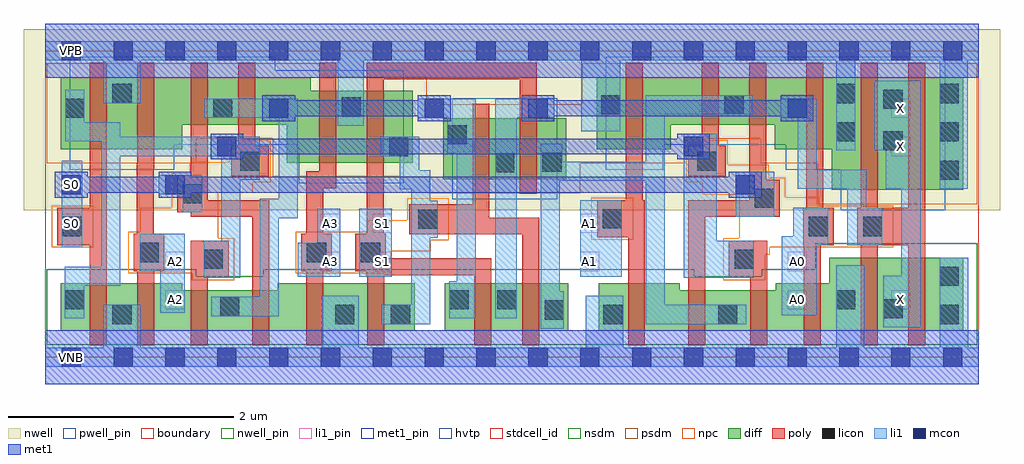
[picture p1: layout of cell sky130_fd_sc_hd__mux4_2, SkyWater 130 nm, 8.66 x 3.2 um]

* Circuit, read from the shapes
.subckt sky130_fd_sc_hd__mux4_2 A0 A1 A2 A3 S0 S1 VGND VNB VPB VPWR X
XM1 VGND S0 n1 VNB sky130_fd_pr__nfet_01v8 w=0.42 l=0.15
XM2 n2 A2 VGND VNB sky130_fd_pr__nfet_01v8 w=0.42 l=0.15
XM3 n3 n1 n2 VNB sky130_fd_pr__nfet_01v8 w=0.36 l=0.15
XM4 n4 S0 n3 VNB sky130_fd_pr__nfet_01v8 w=0.36 l=0.15
XM5 VGND A3 n4 VNB sky130_fd_pr__nfet_01v8 w=0.42 l=0.15
XM6 n5 S1 VGND VNB sky130_fd_pr__nfet_01v8 w=0.42 l=0.15
XM7 n6 S1 n3 VNB sky130_fd_pr__nfet_01v8 w=0.42 l=0.15
XM8 n7 n5 n6 VNB sky130_fd_pr__nfet_01v8 w=0.42 l=0.15
XM9 n8 A1 VGND VNB sky130_fd_pr__nfet_01v8 w=0.42 l=0.15
XM10 n7 S0 n8 VNB sky130_fd_pr__nfet_01v8 w=0.36 l=0.15
XM11 n9 n1 n7 VNB sky130_fd_pr__nfet_01v8 w=0.36 l=0.15
XM12 VGND A0 n9 VNB sky130_fd_pr__nfet_01v8 w=0.42 l=0.15
XM13 X n6 VGND VNB sky130_fd_pr__nfet_01v8 w=0.65 l=0.15 m=2
XM14 VPWR S0 n1 VPB sky130_fd_pr__pfet_01v8_hvt w=0.64 l=0.15
XM15 n10 A2 VPWR VPB sky130_fd_pr__pfet_01v8_hvt w=0.64 l=0.15
XM16 n3 S0 n10 VPB sky130_fd_pr__pfet_01v8_hvt w=0.42 l=0.15
XM17 n11 n1 n3 VPB sky130_fd_pr__pfet_01v8_hvt w=0.42 l=0.15
XM18 VPWR A3 n11 VPB sky130_fd_pr__pfet_01v8_hvt w=0.64 l=0.15
XM19 n5 S1 VPWR VPB sky130_fd_pr__pfet_01v8_hvt w=0.64 l=0.15
XM20 n6 n5 n3 VPB sky130_fd_pr__pfet_01v8_hvt w=0.54 l=0.15
XM21 n7 S1 n6 VPB sky130_fd_pr__pfet_01v8_hvt w=0.54 l=0.15
XM22 n12 A1 VPWR VPB sky130_fd_pr__pfet_01v8_hvt w=0.64 l=0.15
XM23 n7 n1 n12 VPB sky130_fd_pr__pfet_01v8_hvt w=0.42 l=0.15
XM24 n13 S0 n7 VPB sky130_fd_pr__pfet_01v8_hvt w=0.42 l=0.15
XM25 VPWR A0 n13 VPB sky130_fd_pr__pfet_01v8_hvt w=0.64 l=0.15
XM26 X n6 VPWR VPB sky130_fd_pr__pfet_01v8_hvt w=1 l=0.15 m=2
.ends

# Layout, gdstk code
import gdstk
lib = gdstk.Library(unit=1e-6, precision=1e-09)
def R(c, l, rs):  # rectangles x0, y0, x1, y1
    for r in rs: c.add(gdstk.rectangle(r[:2], r[2:], *l))
def A(c, l, x, y, w, h, nx, ny, dx, dy):  # array of equal rectangles
    R(c, l, [(x+i*dx, y+j*dy, x+i*dx+w, y+j*dy+h) for i in range(nx) for j in range(ny)])
nwell_pin = (64, 16)
nwell = (64, 20)
diff = (65, 20)
poly = (66, 20)
licon = (66, 44)
li1_pin = (67, 16)
li1 = (67, 20)
mcon = (67, 44)
met1_pin = (68, 16)
met1 = (68, 20)
hvtp = (78, 44)
stdcell_id = (81, 4)
nsdm = (93, 44)
psdm = (94, 20)
npc = (95, 20)
pwell_pin = (122, 16)
boundary = (235, 4)

sky130_fd_sc_hd__mux4_2 = lib.new_cell('sky130_fd_sc_hd__mux4_2')
R(sky130_fd_sc_hd__mux4_2, nwell_pin, [(0.145,2.635,0.315,2.805)])
R(sky130_fd_sc_hd__mux4_2, nwell, [(-0.19,1.305,8.47,2.91)])
R(sky130_fd_sc_hd__mux4_2, diff, [(0.135,0.235,3.275,0.595), (3.545,0.235,4.64,0.655), (4.91,0.235,8.145,0.595), (0.135,0.595,1.215,0.655), (2.06,0.595,3.275,0.655), (4.91,0.595,5.63,0.655), (6.48,0.595,8.145,0.655), (6.955,0.655,8.145,0.885), (6.975,1.485,8.145,1.845), (3.53,1.58,4.62,2.12), (2.14,1.725,3.26,2.065), (0.135,1.845,1.215,2.065), (4.89,1.845,5.55,2.065), (6.47,1.845,8.145,2.065), (0.135,2.065,3.26,2.365), (4.89,2.065,8.145,2.485), (0.135,2.365,2.355,2.485)])
R(sky130_fd_sc_hd__mux4_2, poly, [(0.395,0.105,0.545,0.995), (0.815,0.105,0.965,0.765), (1.29,0.105,1.44,0.705), (1.835,0.105,1.985,1.245), (2.315,0.105,2.465,0.765), (2.855,0.105,3.005,0.73), (3.805,0.105,3.955,0.73), (4.23,0.105,4.38,1.09), (5.17,0.105,5.32,1.065), (5.705,0.105,5.855,1.245), (6.255,0.105,6.405,0.705), (6.73,0.105,6.88,0.995), (7.235,0.105,7.385,0.995), (7.655,0.105,7.805,0.995), (1.29,0.705,1.625,1.035), (6.065,0.705,6.405,1.035), (2.845,0.73,3.955,0.765), (0.785,0.765,1.055,1.095), (2.27,0.765,2.54,1.095), (2.75,0.765,3.955,0.88), (2.75,0.88,3.02,1.095), (0.105,0.995,0.545,1.325), (6.725,0.995,6.995,1.325), (7.205,0.995,7.805,1.325), (4.895,1.065,5.32,1.395), (3.23,1.09,4.38,1.24), (0.81,1.095,0.96,1.675), (2.315,1.095,2.465,1.5), (2.85,1.095,3,2.465), (3.23,1.24,3.94,1.36), (1.29,1.245,1.985,1.285), (5.705,1.245,6.515,1.395), (1.17,1.285,1.985,1.395), (0.395,1.325,0.545,2.615), (6.75,1.325,6.9,2.615), (7.235,1.325,7.385,2.615), (7.655,1.325,7.805,2.615), (3.79,1.36,3.94,2.25), (1.17,1.395,1.44,1.615), (5.15,1.395,5.3,2.615), (6.245,1.395,6.515,1.575), (4.21,1.45,4.36,2.465), (2.315,1.5,2.58,1.65), (6.245,1.575,6.395,2.615), (1.65,1.605,1.98,1.875), (5.705,1.605,6.035,1.875), (1.29,1.615,1.44,2.615), (2.43,1.65,2.58,2.615), (0.81,1.675,0.965,1.715), (0.815,1.715,0.965,2.615), (1.71,1.875,1.86,2.615), (5.825,1.875,5.975,2.615), (2.85,2.465,4.36,2.615)])
A(sky130_fd_sc_hd__mux4_2, licon, 7.935, 1.575, 0.17, 0.17, 1, 3, 0, 0.34)
R(sky130_fd_sc_hd__mux4_2, licon, [(0.595,0.295,0.765,0.465), (2.57,0.295,2.74,0.465), (3.065,0.295,3.235,0.465), (4.95,0.295,5.12,0.465), (5.97,0.295,6.14,0.465), (7.935,0.295,8.105,0.465), (4.43,0.335,4.6,0.505), (7.435,0.345,7.605,0.515), (1.55,0.365,1.72,0.535), (0.175,0.425,0.345,0.595), (3.585,0.425,3.755,0.595), (4.01,0.425,4.18,0.595), (7.015,0.425,7.185,0.595), (7.935,0.635,8.105,0.805), (1.405,0.785,1.575,0.955), (6.115,0.785,6.285,0.955), (0.835,0.845,1.005,1.015), (2.32,0.845,2.49,1.015), (2.8,0.845,2.97,1.015), (0.155,1.075,0.325,1.245), (6.775,1.075,6.945,1.245), (7.255,1.075,7.425,1.245), (3.31,1.14,3.48,1.31), (4.945,1.145,5.115,1.315), (6.295,1.325,6.465,1.495), (1.22,1.365,1.39,1.535), (3.99,1.64,4.16,1.81), (4.41,1.645,4.58,1.815), (1.73,1.655,1.9,1.825), (5.785,1.655,5.955,1.825), (3.05,1.785,3.22,1.955), (7.435,1.835,7.605,2.005), (3.57,1.89,3.74,2.06), (7.015,1.915,7.185,2.085), (0.175,2.125,0.345,2.295), (1.49,2.125,1.66,2.295), (2.63,2.135,2.8,2.305), (4.93,2.155,5.1,2.325), (6.025,2.155,6.195,2.325), (7.435,2.205,7.605,2.375), (0.595,2.255,0.765,2.425), (7.015,2.255,7.185,2.425)])
A(sky130_fd_sc_hd__mux4_2, li1_pin, 2.905, 0.765, 0.17, 0.17, 3, 1, 1.84, 0)
R(sky130_fd_sc_hd__mux4_2, li1_pin, [(1.065,0.425,1.235,0.595), (6.585,0.425,6.755,0.595), (7.505,0.425,7.675,0.595), (1.065,0.765,1.235,0.935), (2.445,0.765,2.615,0.935), (0.145,1.105,0.315,1.275), (2.445,1.105,2.615,1.275), (2.905,1.105,3.075,1.275), (4.745,1.105,4.915,1.275), (0.145,1.445,0.315,1.615), (7.505,1.785,7.675,1.955), (7.505,2.125,7.675,2.295)])
R(sky130_fd_sc_hd__mux4_2, li1, [(0,-0.085,8.28,0.085), (0.515,0.085,0.845,0.465), (2.45,0.085,2.78,0.545), (4.795,0.085,5.125,0.545), (7.015,0.085,7.265,0.815), (7.935,0.085,8.19,0.885), (4.395,0.255,4.6,0.585), (7.435,0.265,7.765,0.725), (2.985,0.295,3.415,0.465), (5.325,0.295,6.22,0.465), (0.17,0.345,0.345,0.635), (3.585,0.345,3.82,0.675), (3.99,0.345,4.18,2.125), (1.47,0.365,2.07,0.535), (6.535,0.375,6.845,0.995), (1.02,0.395,1.235,0.765), (3.245,0.465,3.415,1.06), (5.325,0.465,5.495,1.565), (1.9,0.535,2.07,1.235), (4.395,0.585,4.565,1.565), (0.17,0.635,0.665,0.805), (3.65,0.675,3.82,1.81), (1.405,0.705,1.73,1.035), (5.665,0.705,6.285,1.035), (2.24,0.715,2.615,1.015), (2.785,0.715,3.075,1.32), (4.745,0.715,5.115,1.395), (7.595,0.725,7.765,1.495), (0.835,0.765,1.235,1.095), (0.495,0.805,0.665,1.785), (0.145,0.975,0.325,1.745), (6.535,0.995,6.945,1.075), (7.115,0.995,7.425,1.325), (2.41,1.015,2.615,1.32), (1.56,1.035,1.73,1.575), (5.665,1.035,5.955,1.985), (3.245,1.06,3.48,1.39), (6.635,1.075,6.945,1.325), (1.9,1.235,2.24,1.405), (6.125,1.245,6.465,1.645), (1.22,1.285,1.39,1.445), (7.115,1.325,7.285,1.495), (3.245,1.39,3.415,1.49), (2.07,1.405,2.24,2.125), (1.005,1.445,1.39,1.615), (3.145,1.49,3.415,1.66), (6.675,1.495,7.285,1.665), (7.455,1.495,7.765,1.835), (7.935,1.495,8.185,2.635), (4.395,1.565,5.495,1.735), (1.56,1.575,1.9,1.785), (3.145,1.66,3.315,1.785), (6.675,1.665,6.845,2.125), (4.395,1.735,4.585,1.895), (5.325,1.735,5.495,2.155), (0.495,1.785,1.9,1.915), (2.97,1.785,3.315,1.955), (3.565,1.81,3.82,2.125), (7.015,1.835,7.185,2.635), (7.355,1.835,7.765,2.455), (0.175,1.915,1.9,1.955), (0.175,1.955,0.665,2.085), (4.755,2.005,5.1,2.635), (2.595,2.055,2.825,2.635), (0.175,2.085,0.345,2.375), (1.41,2.125,2.24,2.295), (3.305,2.125,3.82,2.295), (3.99,2.125,4.515,2.295), (6.525,2.125,6.845,2.295), (5.325,2.155,6.275,2.325), (0.515,2.255,0.845,2.635), (0,2.635,8.28,2.805)])
A(sky130_fd_sc_hd__mux4_2, mcon, 0.145, -0.085, 0.17, 0.17, 18, 2, 0.46, 2.72)
R(sky130_fd_sc_hd__mux4_2, mcon, [(0.145,1.445,0.315,1.615), (1.065,1.445,1.235,1.615), (6.125,1.445,6.295,1.615), (1.525,1.785,1.695,1.955), (5.665,1.785,5.835,1.955), (1.985,2.125,2.155,2.295), (3.365,2.125,3.535,2.295), (4.285,2.125,4.455,2.295), (6.585,2.125,6.755,2.295)])
R(sky130_fd_sc_hd__mux4_2, met1_pin, [(0.145,-0.085,0.315,0.085), (0.145,2.635,0.315,2.805)])
R(sky130_fd_sc_hd__mux4_2, met1, [(0,-0.24,8.28,0.24), (0.085,1.415,0.375,1.46), (1.005,1.415,1.295,1.46), (6.065,1.415,6.355,1.46), (0.085,1.46,6.355,1.6), (0.085,1.6,0.375,1.645), (1.005,1.6,1.295,1.645), (6.065,1.6,6.355,1.645), (1.465,1.755,1.755,1.8), (5.605,1.755,5.895,1.8), (1.465,1.8,5.895,1.94), (1.465,1.94,1.755,1.985), (5.605,1.94,5.895,1.985), (1.925,2.095,2.215,2.14), (3.305,2.095,3.595,2.14), (4.225,2.095,4.515,2.14), (6.525,2.095,6.815,2.14), (1.925,2.14,3.595,2.28), (4.225,2.14,6.815,2.28), (1.925,2.28,2.215,2.325), (3.305,2.28,3.595,2.325), (4.225,2.28,4.515,2.325), (6.525,2.28,6.815,2.325), (0,2.48,8.28,2.96)])
R(sky130_fd_sc_hd__mux4_2, hvtp, [(7.055,1.305,7.985,1.665), (3.61,1.4,4.54,2.3), (2.25,1.545,3.18,1.885), (0.215,1.665,1.145,1.885), (4.97,1.665,5.48,1.885), (6.57,1.665,7.985,1.885), (0.215,1.885,3.18,2.545), (4.97,1.885,7.985,2.665), (0.215,2.545,2.04,2.665)])
R(sky130_fd_sc_hd__mux4_2, stdcell_id, [(0,0,8.28,2.72)])
R(sky130_fd_sc_hd__mux4_2, nsdm, [(0.01,0.11,8.27,0.72), (0.01,0.72,1.34,0.78), (1.935,0.72,5.755,0.78), (6.355,0.72,8.27,0.78), (6.83,0.78,8.27,1.01)])
R(sky130_fd_sc_hd__mux4_2, psdm, [(6.85,1.36,8.27,1.72), (3.405,1.455,4.745,1.6), (2.015,1.6,4.745,1.72), (0.01,1.72,1.34,1.94), (2.015,1.72,5.675,1.94), (6.345,1.72,8.27,1.94), (0.01,1.94,8.27,2.245), (0.01,2.245,3.385,2.49), (4.765,2.245,8.27,2.61), (0.01,2.49,2.48,2.61)])
R(sky130_fd_sc_hd__mux4_2, npc, [(1.305,0.685,1.675,0.745), (6.015,0.685,6.385,0.91), (0.735,0.745,1.675,1.055), (2.22,0.745,3.07,0.94), (6.015,0.91,6.425,0.975), (2.22,0.94,3.42,1.04), (0.055,0.975,0.425,1.345), (6.015,0.975,7.525,1.055), (2.22,1.04,3.58,1.115), (4.845,1.045,5.215,1.415), (0.735,1.055,1.535,1.115), (6.155,1.055,7.525,1.345), (0.84,1.115,1.535,1.325), (2.86,1.115,3.58,1.215), (3.21,1.215,3.58,1.41), (1.12,1.325,1.535,1.46), (6.155,1.345,6.865,1.42), (6.155,1.42,6.565,1.44), (5.83,1.44,6.565,1.555), (1.12,1.46,1.84,1.555), (1.12,1.555,2,1.635), (5.685,1.555,6.565,1.595), (5.685,1.595,6.42,1.71), (1.28,1.635,2,1.73), (5.685,1.71,6.055,1.925), (1.63,1.73,2,1.925)])
R(sky130_fd_sc_hd__mux4_2, pwell_pin, [(0.145,-0.085,0.315,0.085)])
R(sky130_fd_sc_hd__mux4_2, boundary, [(0,0,8.28,2.72)])
sky130_fd_sc_hd__mux4_2.add(gdstk.Label('VNB', (0.23,0), layer=64, texttype=59))
sky130_fd_sc_hd__mux4_2.add(gdstk.Label('VPB', (0.23,2.72), layer=64, texttype=5))
sky130_fd_sc_hd__mux4_2.add(gdstk.Label('VGND', (0.23,0), layer=68, texttype=5))
sky130_fd_sc_hd__mux4_2.add(gdstk.Label('VPWR', (0.23,2.72), layer=68, texttype=5))
sky130_fd_sc_hd__mux4_2.add(gdstk.Label('S0', (0.23,1.53), layer=67, texttype=5))
sky130_fd_sc_hd__mux4_2.add(gdstk.Label('S0', (0.23,1.19), layer=67, texttype=5))
sky130_fd_sc_hd__mux4_2.add(gdstk.Label('A2', (1.15,0.51), layer=67, texttype=5))
sky130_fd_sc_hd__mux4_2.add(gdstk.Label('A2', (1.15,0.85), layer=67, texttype=5))
sky130_fd_sc_hd__mux4_2.add(gdstk.Label('A3', (2.53,1.19), layer=67, texttype=5))
sky130_fd_sc_hd__mux4_2.add(gdstk.Label('A3', (2.53,0.85), layer=67, texttype=5))
sky130_fd_sc_hd__mux4_2.add(gdstk.Label('S1', (2.99,0.85), layer=67, texttype=5))
sky130_fd_sc_hd__mux4_2.add(gdstk.Label('S1', (2.99,1.19), layer=67, texttype=5))
sky130_fd_sc_hd__mux4_2.add(gdstk.Label('A1', (4.83,0.85), layer=67, texttype=5))
sky130_fd_sc_hd__mux4_2.add(gdstk.Label('A1', (4.83,1.19), layer=67, texttype=5))
sky130_fd_sc_hd__mux4_2.add(gdstk.Label('A0', (6.67,0.51), layer=67, texttype=5))
sky130_fd_sc_hd__mux4_2.add(gdstk.Label('A0', (6.67,0.85), layer=67, texttype=5))
sky130_fd_sc_hd__mux4_2.add(gdstk.Label('X', (7.59,2.21), layer=67, texttype=5))
sky130_fd_sc_hd__mux4_2.add(gdstk.Label('X', (7.59,0.51), layer=67, texttype=5))
sky130_fd_sc_hd__mux4_2.add(gdstk.Label('X', (7.59,1.87), layer=67, texttype=5))

lib.write_gds('sky130_fd_sc_hd__mux4_2.gds')
